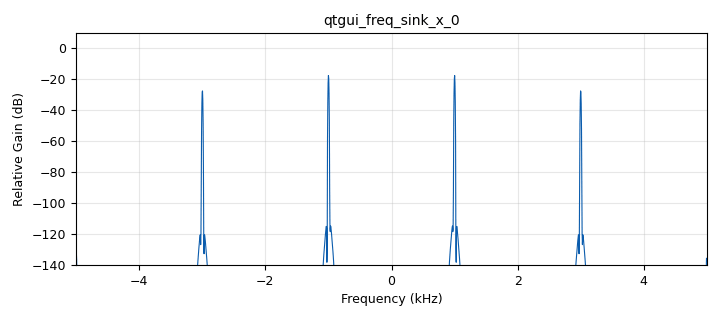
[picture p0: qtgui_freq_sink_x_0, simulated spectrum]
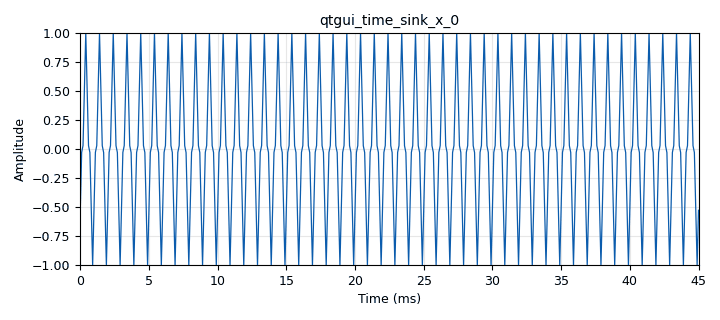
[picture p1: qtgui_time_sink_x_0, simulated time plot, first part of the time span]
options:
  parameters:
    author: Usuario
    generate_options: qt_gui
    id: untitled
    output_language: python
    title: Not titled yet
  states: {}

blocks:
- name: freq_a
  id: variable_qtgui_range
  parameters:
    label: frequencyA
    orient: Qt.Horizontal
    start: '1000'
    step: '1000'
    stop: '40000'
    value: '1000'
  states: {}
- name: freq_b
  id: variable_qtgui_range
  parameters:
    label: frequencyB
    orient: Qt.Horizontal
    start: '1000'
    step: '1000'
    stop: '40000'
    value: '1000'
  states: {}
- name: freq_c
  id: variable_qtgui_range
  parameters:
    label: frecuencyC
    orient: Qt.Horizontal
    start: '1000'
    step: '1000'
    stop: '40000'
    value: '1000'
  states: {}
- name: samp_rate
  id: variable_qtgui_range
  parameters:
    label: frecuencia de muestreo
    orient: Qt.Horizontal
    start: '1000'
    step: '1000'
    stop: '80000'
    value: '10000'
  states: {}
- name: analog_sig_source_x_0
  id: analog_sig_source_x
  parameters:
    amp: '1'
    freq: freq_a
    offset: '0'
    phase: '0'
    samp_rate: samp_rate
    type: float
    waveform: analog.GR_COS_WAVE
  states: {}
- name: analog_sig_source_x_1
  id: analog_sig_source_x
  parameters:
    amp: '1'
    freq: freq_b
    offset: '0'
    phase: '0'
    samp_rate: samp_rate
    type: float
    waveform: analog.GR_COS_WAVE
  states: {}
- name: analog_sig_source_x_2
  id: analog_sig_source_x
  parameters:
    amp: '1'
    freq: freq_c
    offset: '0'
    phase: '0'
    samp_rate: samp_rate
    type: float
    waveform: analog.GR_COS_WAVE
  states: {}
- name: blocks_multiply_xx_0
  id: blocks_multiply_xx
  parameters:
    num_inputs: '3'
    type: float
  states: {}
- name: blocks_throttle_0
  id: blocks_throttle
  parameters:
    samples_per_second: samp_rate
    type: float
  states: {}
- name: qtgui_freq_sink_x_0
  id: qtgui_freq_sink_x
  parameters:
    bw: samp_rate
    fc: '0'
    fftsize: '2048'
    type: float
    wintype: firdes.WIN_BLACKMAN_hARRIS
  states: {}
- name: qtgui_time_sink_x_0
  id: qtgui_time_sink_x
  parameters:
    size: '1024'
    srate: samp_rate
    type: float
  states: {}

connections:
- [analog_sig_source_x_0, '0', blocks_multiply_xx_0, '0']
- [analog_sig_source_x_1, '0', blocks_multiply_xx_0, '1']
- [analog_sig_source_x_2, '0', blocks_multiply_xx_0, '2']
- [blocks_multiply_xx_0, '0', blocks_throttle_0, '0']
- [blocks_throttle_0, '0', qtgui_freq_sink_x_0, '0']
- [blocks_throttle_0, '0', qtgui_time_sink_x_0, '0']

metadata:
  file_format: 1
